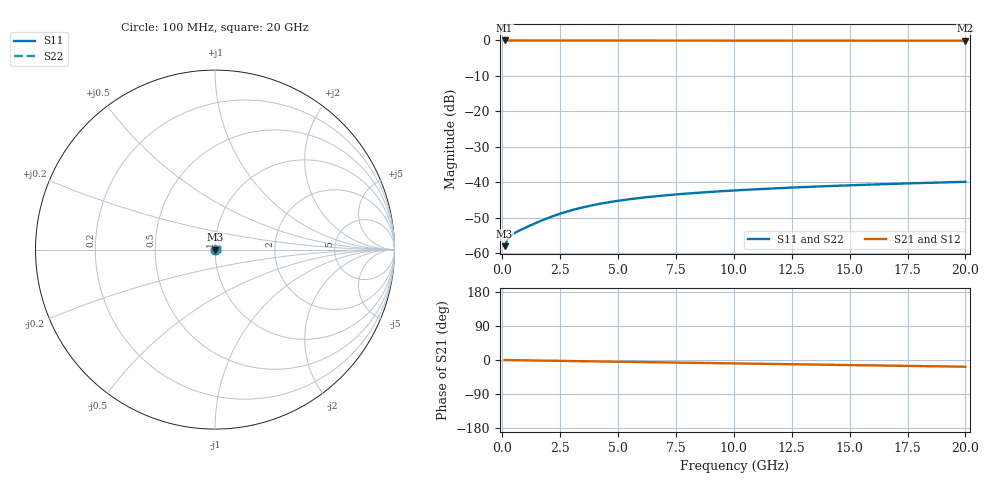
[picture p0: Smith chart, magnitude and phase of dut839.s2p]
! Touchstone file exported from HFSS 2026.1.0
!  File:  C:/ffzhzh/LocalFiles/Ansys_Project_Files/temp_train_TMRDL_839_1783156767_51560.aedt
!  Generated:  05:20:34 PM Jul  4, 2026
!  Design:  TMRDL
!  Project:  temp_train_TMRDL_839_1783156767_51560
! Variables:
!  h_bsmrdl = 2um
!  h_ox = 20um
!  h_rdl = 5um
!  h_sub = 80um
!  h_tmrdl = 5.17um
!  h_tsv = 80um
!  h_via = 3um
!  l_bsmrdl = 300um
!  l_sub = 712.31um
!  l_tmrdl = 312.31um
!  m_sub = 200um
!  pitch = 26.4um
!  r_tsv = 6um
!  s_tmrdl = 10um
!  w_bsmrdl = 18um
!  w_sub = 500um
!  w_tmrdl = 21.32um
!  x_tsv_center1 = 322.97um
!  x_tsv_center2 = 640.97um
!  x_tsv_center3 = 974.6um
!  x_tsv_center4 = 1292.6um
!  x_tsv_center5 = 1626.23um
!  x_tsv_center6 = 1944.23um
# GHz S MA R 50.000000
! Terminal data exported
! Port[1] = TM_RDL1_1_T1
! Port[2] = TM_RDL1_1_T2
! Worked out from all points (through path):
!   200 points, 100 MHz to 20 GHz, reference 50 ohm
!   highest |S21| = -0.01 dB at 100 MHz (marker M1); lowest = -0.1 dB at 20 GHz (marker M2)
!   group delay of S21, straight-line fit = 2.45 ps
!   lowest |S11| = -58.0 dB at 100 MHz (marker M3), VSWR 1.00, Z = 50.1 + j0.0345 ohm
!   |S11| at or under -10 dB: start of sweep to end of sweep
!   |S22| runs from -58.0 to -39.8 dB; largest |S21 - S12| = 5.1e-15
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0.1  0.00126 15.8  0.9988 -0.1  0.9988 -0.1  0.00126 15.8
! Gamma 0 0 0 0
! Port Impedance 50 0 50 0
0.2  0.001496 21.8  0.9986 -0.2  0.9986 -0.2  0.001497 21.8
0.3  0.001679 23.5  0.9985 -0.3  0.9985 -0.3  0.001679 23.5
0.4  0.001807 24.5  0.9984 -0.4  0.9984 -0.4  0.001808 24.5
0.5  0.001906 25.5  0.9983 -0.5  0.9983 -0.5  0.001906 25.5
0.7  0.002068 28.0  0.9982 -0.7  0.9982 -0.7  0.002068 28.0
1.5  0.002719 36.8  0.9979 -1.4  0.9979 -1.4  0.00272 36.8
2.1  0.003259 39.9  0.9976 -2.0  0.9976 -2.0  0.00326 39.9
2.4  0.003529 40.6  0.9974 -2.2  0.9974 -2.2  0.00353 40.6
2.8  0.003881 40.8  0.9972 -2.6  0.9972 -2.6  0.003881 40.8
3.1  0.004134 40.7  0.997 -2.9  0.997 -2.9  0.004135 40.7
3.5  0.004456 40.3  0.9968 -3.2  0.9968 -3.2  0.004457 40.2
4.2  0.004973 39.0  0.9963 -3.9  0.9963 -3.9  0.004974 39.0
5  0.005494 37.2  0.9959 -4.6  0.9959 -4.6  0.005496 37.1
5.8  0.00595 35.3  0.9955 -5.3  0.9955 -5.3  0.005952 35.2
6.8  0.006445 32.9  0.995 -6.2  0.995 -6.2  0.006448 32.9
8.3  0.007076 29.7  0.9943 -7.5  0.9943 -7.5  0.00708 29.7
10.1  0.007713 26.2  0.9937 -9.1  0.9937 -9.1  0.00772 26.2
11.7  0.008208 23.3  0.9931 -10.5  0.9931 -10.5  0.008217 23.3
13.4  0.008681 20.4  0.9926 -12.0  0.9926 -12.0  0.008694 20.3
16.7  0.009484 15.0  0.9917 -14.9  0.9917 -14.9  0.009504 14.9
20  0.01017 9.7  0.9908 -17.7  0.9908 -17.7  0.0102 9.7
